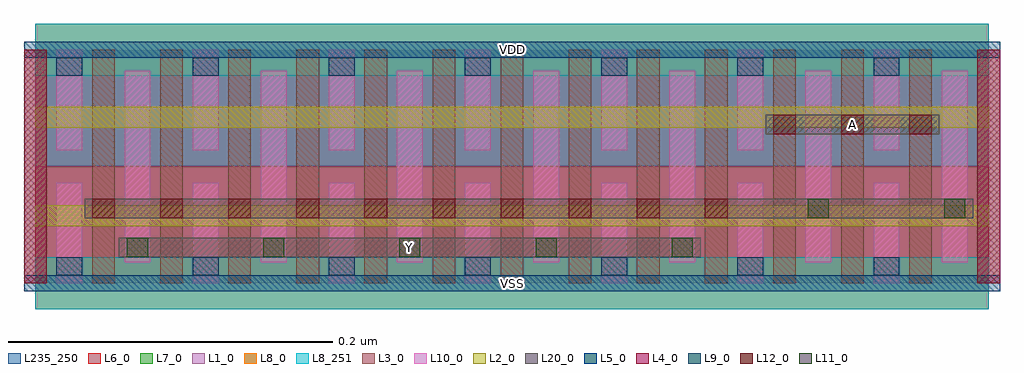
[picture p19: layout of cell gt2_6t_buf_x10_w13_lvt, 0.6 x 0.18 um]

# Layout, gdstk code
import gdstk
lib = gdstk.Library(unit=1e-6, precision=5e-10)
def R(c, l, rs):  # rectangles x0, y0, x1, y1
    for r in rs: c.add(gdstk.rectangle(r[:2], r[2:], *l))
def A(c, l, x, y, w, h, nx, ny, dx, dy):  # array of equal rectangles
    R(c, l, [(x+i*dx, y+j*dy, x+i*dx+w, y+j*dy+h) for i in range(nx) for j in range(ny)])
L1_0 = (1, 0)
L2_0 = (2, 0)
L3_0 = (3, 0)
L4_0 = (4, 0)
L5_0 = (5, 0)
L6_0 = (6, 0)
L7_0 = (7, 0)
L8_0 = (8, 0)
L8_251 = (8, 251)
L9_0 = (9, 0)
L10_0 = (10, 0)
L11_0 = (11, 0)
L12_0 = (12, 0)
L20_0 = (20, 0)
L235_250 = (235, 250)

gt2_6t_buf_x10_w13_lvt = lib.new_cell('gt2_6t_buf_x10_w13_lvt')
R(gt2_6t_buf_x10_w13_lvt, L1_0, [(0,0.072,0.588,0.144)])
R(gt2_6t_buf_x10_w13_lvt, L2_0, [(0,0.035,0.588,0.048), (0,0.096,0.588,0.109)])
A(gt2_6t_buf_x10_w13_lvt, L3_0, -0.007, 0, 0.014, 0.144, 15, 1, 0.042, 0)
R(gt2_6t_buf_x10_w13_lvt, L4_0, [(-0.007,0,0.007,0.144), (0.581,0,0.595,0.144)])
R(gt2_6t_buf_x10_w13_lvt, L5_0, [(-0.007,-0.005,0.595,0.005), (-0.007,0.139,0.595,0.149)])
R(gt2_6t_buf_x10_w13_lvt, L6_0, [(0,0,0.588,0.072)])
R(gt2_6t_buf_x10_w13_lvt, L7_0, [(0,0.072,0.588,0.144)])
R(gt2_6t_buf_x10_w13_lvt, L8_0, [(0,-0.016,0.588,0.016), (0,0.128,0.588,0.16)])
R(gt2_6t_buf_x10_w13_lvt, L8_251, [(0,-0.016,0.588,0.016), (0,0.128,0.588,0.16)])
A(gt2_6t_buf_x10_w13_lvt, L9_0, 0.013, 0.005, 0.016, 0.011, 7, 2, 0.084, 0.123)
A(gt2_6t_buf_x10_w13_lvt, L10_0, 0.013, 0, 0.016, 0.062, 7, 2, 0.084, 0.082)
A(gt2_6t_buf_x10_w13_lvt, L10_0, 0.055, 0.013, 0.016, 0.118, 7, 1, 0.084, 0)
A(gt2_6t_buf_x10_w13_lvt, L11_0, 0.0565, 0.016, 0.013, 0.012, 5, 1, 0.084, 0)
R(gt2_6t_buf_x10_w13_lvt, L11_0, [(0.4765,0.04,0.4895,0.052), (0.5605,0.04,0.5735,0.052)])
A(gt2_6t_buf_x10_w13_lvt, L12_0, 0.035, 0.04, 0.014, 0.012, 10, 1, 0.042, 0)
A(gt2_6t_buf_x10_w13_lvt, L12_0, 0.455, 0.092, 0.014, 0.012, 3, 1, 0.042, 0)
R(gt2_6t_buf_x10_w13_lvt, L20_0, [(0.0515,0.016,0.4105,0.028), (0.0305,0.04,0.5785,0.052), (0.4505,0.092,0.5575,0.104)])
R(gt2_6t_buf_x10_w13_lvt, L235_250, [(0,0,0.588,0.144)])
gt2_6t_buf_x10_w13_lvt.add(gdstk.Label('VSS', (0.294,0), layer=8, texttype=251))
gt2_6t_buf_x10_w13_lvt.add(gdstk.Label('VDD', (0.294,0.144), layer=8, texttype=251))
gt2_6t_buf_x10_w13_lvt.add(gdstk.Label('A', (0.504,0.098), layer=20, texttype=251))
gt2_6t_buf_x10_w13_lvt.add(gdstk.Label('Y', (0.231,0.022), layer=20, texttype=251))

lib.write_gds('gt2_6t_buf_x10_w13_lvt.gds')
